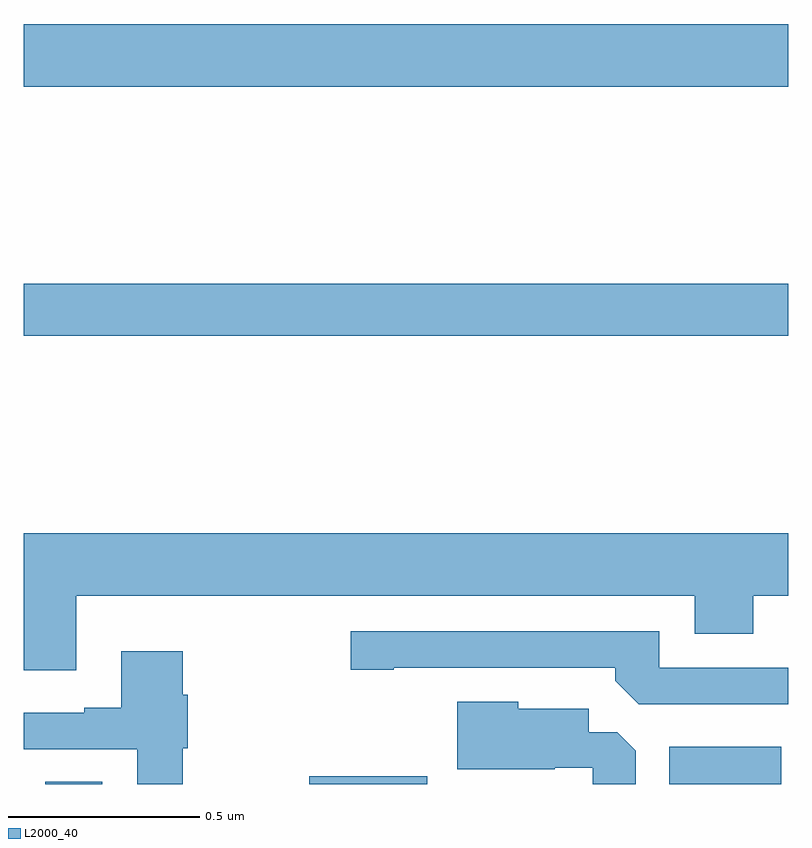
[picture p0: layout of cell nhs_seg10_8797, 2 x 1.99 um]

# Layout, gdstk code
import gdstk
lib = gdstk.Library(unit=1e-6, precision=1e-09)
def R(c, l, rs):  # rectangles x0, y0, x1, y1
    for r in rs: c.add(gdstk.rectangle(r[:2], r[2:], *l))
def P(c, l, *ps):  # polygons
    for p in ps: c.add(gdstk.Polygon(p, *l))
L2000_40 = (2000, 40)

nhs_seg10_8797 = lib.new_cell('nhs_seg10_8797')
R(nhs_seg10_8797, L2000_40, [(221.057,1290.5,221.206,1290.506), (221.747,1290.5,222.055,1290.52), (222.689,1290.5,222.982,1290.598), (221,1291.672,223,1291.808), (221,1292.324,223,1292.488)])
P(nhs_seg10_8797, L2000_40, [(221.137,1290.992),(222.755,1290.992),(222.755,1290.893),(222.908,1290.893),(222.908,1290.992),(223,1290.992),(223,1291.156),(221,1291.156),(221,1290.798),(221.137,1290.798)],
  [(223,1290.804),(222.663,1290.804),(222.663,1290.9),(221.856,1290.9),(221.856,1290.799),(221.968,1290.799),(221.968,1290.804),(222.548,1290.804),(222.548,1290.77),(222.609,1290.708),(223,1290.708)],
  [(221.416,1290.594),(221.429,1290.594),(221.429,1290.734),(221.416,1290.734),(221.416,1290.847),(221.255,1290.847),(221.255,1290.7),(221.159,1290.7),(221.159,1290.687),(221,1290.687),(221,1290.591),(221.297,1290.591),(221.297,1290.5),(221.416,1290.5)],
  [(222.601,1290.587),(222.552,1290.636),(222.478,1290.636),(222.478,1290.697),(222.294,1290.697),(222.294,1290.715),(222.134,1290.715),(222.134,1290.539),(222.389,1290.539),(222.389,1290.543),(222.489,1290.543),(222.489,1290.5),(222.601,1290.5)])

lib.write_gds('nhs_seg10_8797.gds')
